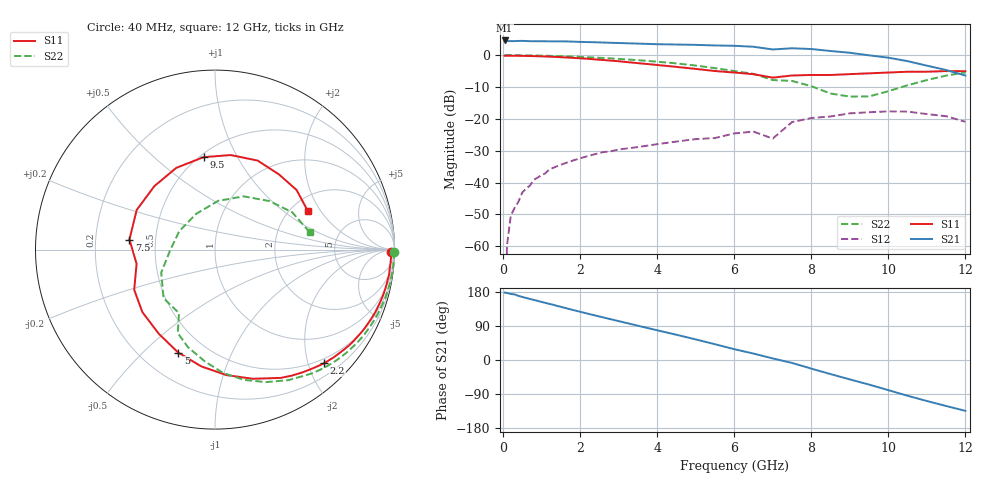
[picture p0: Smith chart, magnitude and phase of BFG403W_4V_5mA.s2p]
! Filename: 4_5bfg403.001
! BFG403W Field A1
! V1=8.236E-001V,V2=4.000E+000V, I1=5.201E-006A, I2=5.000E-004A
# GHz  S  MA  R 50
!  S11  S21  S12  S22
!Freq(GHz)  Mag  Ang  Mag  Ang  Mag  Ang  Mag  Ang
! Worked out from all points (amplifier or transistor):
!   44 points, 40 MHz to 12 GHz, reference 50 ohm
!   highest |S21| = 4.6 dB at 40 MHz (marker M1)
!   |S21| within 3 dB of that: start of sweep to 8.246 GHz
!   S11 on the Smith chart (normalised r, x): 40 MHz: 67, -43; 2.2 GHz: 0.41, -2.28; 5 GHz: 0.35, -0.64; 7.5 GHz: 0.35, +0.05; 9.5 GHz: 0.52, +0.74; 12 GHz: 2.45, +1.54
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0.04  0.979 -0.8  1.704 177.9  0 82.8  0.999 -0.7
0.1  0.982 -2.1  1.667 177.0  0.001 91.5  0.999 -1.7
0.2  0.981 -4.3  1.663 174.3  0.003 85.0  0.997 -3.6
0.5  0.976 -10.7  1.679 166.4  0.007 79.7  0.994 -8.9
1.2  0.948 -25.3  1.652 148.0  0.016 69.2  0.976 -21.3
2.2  0.878 -46.2  1.606 122.2  0.026 54.4  0.929 -38.6
2.8  0.822 -58.7  1.565 107.5  0.031 47.1  0.89 -48.8
3.5  0.75 -73.7  1.521 90.4  0.036 40.2  0.835 -60.5
4.5  0.655 -96.8  1.471 66.6  0.044 33.0  0.743 -77.6
5  0.609 -109.7  1.453 54.3  0.048 29.1  0.688 -86.3
6  0.534 -139.2  1.405 28.5  0.059 19.0  0.564 -105.5
6.5  0.503 -153.5  1.357 17.0  0.063 22.9  0.509 -114.0
7  0.444 -169.7  1.23 4.1  0.049 25.8  0.407 -119.5
7.5  0.48 173.3  1.285 -7.7  0.089 17.1  0.394 -136.7
8  0.489 153.2  1.25 -22.7  0.103 2.4  0.326 -156.8
8.5  0.489 133.8  1.163 -37.2  0.109 -9.5  0.25 -179.0
9  0.504 115.4  1.092 -51.2  0.122 -20.5  0.224 152.9
9.5  0.519 97.1  0.995 -64.9  0.127 -35.3  0.225 118.0
10  0.534 80.6  0.914 -79.6  0.131 -49.1  0.272 86.4
10.5  0.55 64.4  0.806 -94.3  0.13 -64.9  0.337 61.7
11  0.55 49.6  0.685 -108.2  0.119 -80.5  0.407 41.6
12  0.56 22.6  0.479 -134.1  0.09 -115.2  0.536 10.5
